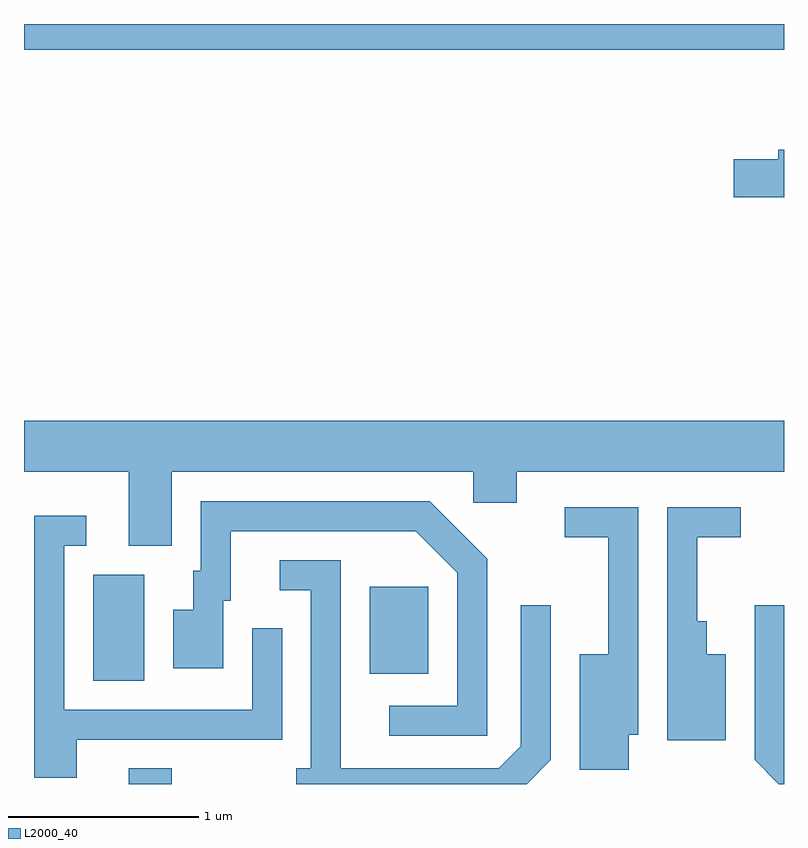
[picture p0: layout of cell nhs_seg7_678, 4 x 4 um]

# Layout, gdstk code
import gdstk
lib = gdstk.Library(unit=1e-6, precision=1e-09)
def R(c, l, rs):  # rectangles x0, y0, x1, y1
    for r in rs: c.add(gdstk.rectangle(r[:2], r[2:], *l))
def P(c, l, *ps):  # polygons
    for p in ps: c.add(gdstk.Polygon(p, *l))
L2000_40 = (2000, 40)

nhs_seg7_678 = lib.new_cell('nhs_seg7_678')
R(nhs_seg7_678, L2000_40, [(206.161,1688.252,206.389,1688.334), (205.976,1688.796,206.244,1689.354), (207.431,1688.831,207.739,1689.289), (205.611,1692.116,209.611,1692.252)])
P(nhs_seg7_678, L2000_40, [(209.611,1691.589),(209.581,1691.589),(209.581,1691.539),(209.346,1691.539),(209.346,1691.341),(209.611,1691.341)],
  [(206.389,1689.896),(207.976,1689.896),(207.976,1689.731),(208.204,1689.731),(208.204,1689.896),(209.611,1689.896),(209.611,1690.164),(205.611,1690.164),(205.611,1689.896),(206.161,1689.896),(206.161,1689.506),(206.389,1689.506)],
  [(208.049,1689.437),(207.747,1689.739),(206.541,1689.739),(206.541,1689.374),(206.501,1689.374),(206.501,1689.169),(206.396,1689.169),(206.396,1688.861),(206.659,1688.861),(206.659,1689.216),(206.699,1689.216),(206.699,1689.581),(207.674,1689.581),(207.891,1689.364),(207.891,1688.664),(207.533,1688.664),(207.533,1688.506),(208.049,1688.506)],
  [(209.304,1688.934),(209.204,1688.934),(209.204,1689.109),(209.154,1689.109),(209.154,1689.551),(209.383,1689.551),(209.383,1689.709),(208.996,1689.709),(208.996,1688.481),(209.304,1688.481)],
  [(208.794,1688.511),(208.844,1688.511),(208.844,1689.709),(208.458,1689.709),(208.458,1689.551),(208.686,1689.551),(208.686,1688.934),(208.536,1688.934),(208.536,1688.326),(208.794,1688.326)],
  [(205.889,1688.486),(206.969,1688.486),(206.969,1689.073),(206.811,1689.073),(206.811,1688.644),(205.824,1688.644),(205.824,1689.506),(205.938,1689.506),(205.938,1689.664),(205.666,1689.664),(205.666,1688.286),(205.889,1688.286)],
  [(208.384,1688.379),(208.384,1689.193),(208.226,1689.193),(208.226,1688.452),(208.109,1688.334),(207.279,1688.334),(207.279,1689.429),(206.958,1689.429),(206.958,1689.271),(207.121,1689.271),(207.121,1688.334),(207.043,1688.334),(207.043,1688.252),(208.258,1688.252)],
  [(209.611,1689.193),(209.456,1689.193),(209.456,1688.379),(209.583,1688.252),(209.611,1688.252)])

lib.write_gds('nhs_seg7_678.gds')
